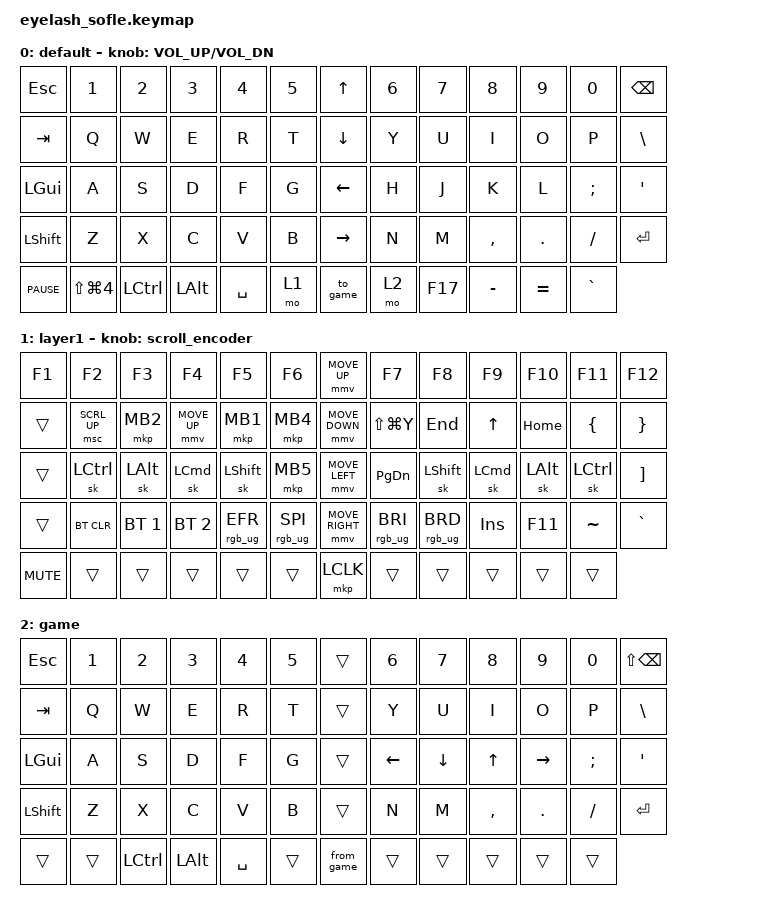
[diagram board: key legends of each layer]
#define ZMK_POINTING_DEFAULT_MOVE_VAL 1200  // 600
#define ZMK_POINTING_DEFAULT_SCRL_VAL 25   // 10

#include <input/processors.dtsi>
#include <zephyr/dt-bindings/input/input-event-codes.h>
#include <behaviors.dtsi>
#include <dt-bindings/zmk/bt.h>
#include <dt-bindings/zmk/keys.h>
#include <dt-bindings/zmk/pointing.h>
#include <dt-bindings/zmk/rgb.h>

&mmv_input_listener { input-processors = <&zip_xy_scaler 2 1>; };

&msc_input_listener { input-processors = <&zip_scroll_scaler 2 1>; };

&msc {
    acceleration-exponent = <1>;      // 0
    time-to-max-speed-ms = <100>;       // 300
    delay-ms = <0>;                   // 0
};

&mmv {
    time-to-max-speed-ms = <500>;
    acceleration-exponent = <1>;
    trigger-period-ms = <16>;
};

&soft_off { hold-time-ms = <2000>; };

&mt {
    quick-tap-ms = <130>;
    flavor = "tap-preferred";
};

&sk {
    release-after-ms = <3000>;
    ignore-modifiers;
};

&sl { release-after-ms = <1000>; };

/ {
    scroll_encoder: scroll_encoder {
        compatible = "zmk,behavior-sensor-rotate";
        #sensor-binding-cells = <0>;
        bindings = <&msc SCRL_DOWN>, <&msc SCRL_UP>;

        tap-ms = <100>;
    };

    behaviors {
    };

    combos {
        compatible = "zmk,combos";

        softoff {
            bindings = <&soft_off>;
            key-positions = <14 28 40>;
        };
    };

    macros {
        SHIFT_MCLK: SHIFT_MCLK {
            compatible = "zmk,behavior-macro";
            #binding-cells = <0>;
            bindings =
                <&macro_press>,
                <&kp LEFT_SHIFT>,
                <&macro_press>,
                <&mkp MB3>,
                <&macro_pause_for_release>,
                <&macro_release>,
                <&kp LEFT_SHIFT &mkp MB3>;

            label = "SHIFT_MCLK";
        };

        // game 레이어 진입: 빨강 약하게 켜기 (hue=0, sat=100, brt=20)

        to_game: to_game {
            compatible = "zmk,behavior-macro";
            #binding-cells = <0>;
            bindings =
                <&macro_tap>,
                <&to 2>,
                <&macro_tap>,
                <&rgb_ug RGB_ON>,
                <&macro_tap>,
                <&rgb_ug RGB_COLOR_HSB(0,100,20)>;

            label = "TO_GAME";
        };

        // game 레이어 탈출: LED 끄기

        from_game: from_game {
            compatible = "zmk,behavior-macro";
            #binding-cells = <0>;
            bindings = <&macro_tap>, <&to 0>, <&macro_tap>, <&rgb_ug RGB_OFF>;

            label = "FROM_GAME";
        };
    };

    keymap {
        compatible = "zmk,keymap";

        default {
            bindings = <
&kp ESC      &kp N1          &kp N2     &kp N3    &kp N4     &kp N5    &kp UP_ARROW  &kp N6  &kp N7   &kp N8     &kp N9     &kp N0     &kp BACKSPACE
&kp TAB      &kp Q           &kp W      &kp E     &kp R      &kp T     &kp DOWN      &kp Y   &kp U    &kp I      &kp O      &kp P      &kp BSLH
&kp LGUI     &kp A           &kp S      &kp D     &kp F      &kp G     &kp LEFT      &kp H   &kp J    &kp K      &kp L      &kp SEMI   &kp APOS
&kp LSHFT    &kp Z           &kp X      &kp C     &kp V      &kp B     &kp RIGHT     &kp N   &kp M    &kp COMMA  &kp DOT    &kp FSLH   &kp ENTER
&kp C_PAUSE  &kp LS(LG(N4))  &kp LCTRL  &kp LALT  &kp SPACE  &mo 1     &to_game      &mo 2   &kp F17  &kp MINUS  &kp EQUAL  &kp GRAVE
            >;

            sensor-bindings = <&inc_dec_kp C_VOLUME_UP C_VOL_DN>;
            display-name = "default";
        };

        layer_1 {
            bindings = <
&kp F1      &kp F2            &kp F3        &kp F4        &kp F5           &kp F6             &mmv MOVE_UP     &kp F7           &kp F8           &kp F9      &kp F10       &kp F11           &kp F12
&trans      &msc SCRL_UP      &mkp MB2      &mmv MOVE_UP  &mkp MB1         &mkp MB4           &mmv MOVE_DOWN   &kp LS(LG(Y))    &kp END          &kp UP      &kp HOME      &kp LEFT_BRACE    &kp RIGHT_BRACE
&trans      &sk LEFT_CONTROL  &sk LEFT_ALT  &sk LCMD      &sk LEFT_SHIFT   &mkp MB5           &mmv MOVE_LEFT   &kp PG_DN        &sk LEFT_SHIFT   &sk LCMD    &sk LEFT_ALT  &sk LEFT_CONTROL  &kp RIGHT_BRACKET
&trans      &bt BT_CLR        &bt BT_SEL 1  &bt BT_SEL 2  &rgb_ug RGB_EFR  &rgb_ug RGB_SPI    &mmv MOVE_RIGHT  &rgb_ug RGB_BRI  &rgb_ug RGB_BRD  &kp INSERT  &kp F11       &kp TILDE         &kp GRAVE
&kp C_MUTE  &trans            &trans        &trans        &trans           &trans             &mkp LCLK        &trans           &trans           &trans      &trans        &trans
            >;

            display-name = "layer1";
            sensor-bindings = <&scroll_encoder>;
        };

        game {
            bindings = <
&kp ESC    &kp N1  &kp N2     &kp N3    &kp N4     &kp N5    &trans      &kp N6    &kp N7    &kp N8     &kp N9     &kp N0    &kp LS(BSPC)
&kp TAB    &kp Q   &kp W      &kp E     &kp R      &kp T     &trans      &kp Y     &kp U     &kp I      &kp O      &kp P     &kp BSLH
&kp LGUI   &kp A   &kp S      &kp D     &kp F      &kp G     &trans      &kp LEFT  &kp DOWN  &kp UP     &kp RIGHT  &kp SEMI  &kp SQT
&kp LSHFT  &kp Z   &kp X      &kp C     &kp V      &kp B     &trans      &kp N     &kp M     &kp COMMA  &kp DOT    &kp FSLH  &kp ENTER
&trans     &trans  &kp LCTRL  &kp LALT  &kp SPACE  &trans    &from_game  &trans    &trans    &trans     &trans     &trans
            >;
        };
    };
};
